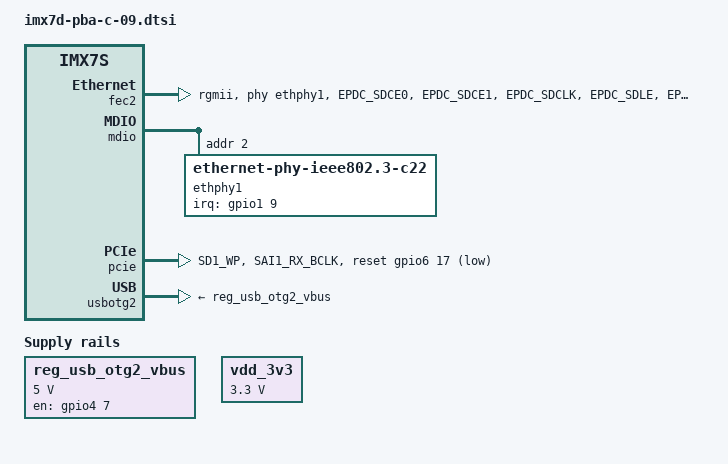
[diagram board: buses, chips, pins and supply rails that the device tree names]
// SPDX-License-Identifier: GPL-2.0-or-later
/*
 * Copyright (C) 2015-2021 PHYTEC America, LLC
 *
 * This file includes the dtsi for interfaces supported by i.MX7 Solo on
 * carrier board PBA-C-09, and configures additional interfaces only
 * supported by the i.MX7 Dual.
 */

#include "imx7s-pba-c-09.dtsi"

/ {
	reg_usb_otg2_vbus: regulator-usb-otg2-vbus {
		compatible = "regulator-fixed";
		pinctrl-names = "default";
		pinctrl-0 = <&pinctrl_usb2_vbus>;
		regulator-name = "usb_otg2_vbus";
		regulator-min-microvolt = <5000000>;
		regulator-max-microvolt = <5000000>;
		gpio = <&gpio4 7 GPIO_ACTIVE_HIGH>;
		enable-active-high;
	};

	vdd_3v3: fixedregulator-vdd {
		compatible = "regulator-fixed";
		regulator-name = "vdd_3v3";
		regulator-min-microvolt = <3300000>;
		regulator-max-microvolt = <3300000>;
		regulator-boot-on;
	};
};

&fec2 {
	pinctrl-names = "default";
	pinctrl-0 = <&pinctrl_enet2>;
	assigned-clocks = <&clks IMX7D_ENET2_TIME_ROOT_SRC>,
			<&clks IMX7D_ENET2_TIME_ROOT_CLK>;
	assigned-clock-parents = <&clks IMX7D_PLL_ENET_MAIN_100M_CLK>;
	assigned-clock-rates = <0>, <100000000>;
	phy-mode = "rgmii";
	phy-handle = <&ethphy1>;
	fsl,magic-packet;
	phy-reset-gpios = <&gpio2 30 GPIO_ACTIVE_LOW>;
	status = "okay";
};

/* same MDIO bus as PHY on phyCORE SOM */
&mdio {
	ethphy1: ethernet-phy@2 {
		compatible = "ethernet-phy-ieee802.3-c22";
		interrupt-parent = <&gpio1>;
		interrupts = <9 0>;
		reg = <2>;
		rxdv-skew-ps = <0>;
		txen-skew-ps = <0>;
		rxd0-skew-ps = <0>;
		rxd1-skew-ps = <0>;
		rxd2-skew-ps = <0>;
		rxd3-skew-ps = <0>;
		rxc-skew-ps = <1860>;
		txc-skew-ps = <1860>;
	};
};

&pcie {
	pinctrl-names = "default";
	pinctrl-0 = <&pinctrl_pcie>;
	reset-gpio = <&gpio6 17  GPIO_ACTIVE_LOW>;
	disable-gpio = <&gpio5 1 GPIO_ACTIVE_LOW>;
	status = "okay";
};

&usbotg2 {
	vbus-supply = <&reg_usb_otg2_vbus>;
	status = "okay";
};

&iomuxc {
	pinctrl_enet2: enet2grp {
		fsl,pins = <
			MX7D_PAD_EPDC_SDCE0__ENET2_RGMII_RX_CTL	0x5
			MX7D_PAD_EPDC_SDCE1__ENET2_RGMII_RXC	0x5
			MX7D_PAD_EPDC_SDCLK__ENET2_RGMII_RD0	0x5
			MX7D_PAD_EPDC_SDLE__ENET2_RGMII_RD1	0x5
			MX7D_PAD_EPDC_SDOE__ENET2_RGMII_RD2	0x5
			MX7D_PAD_EPDC_SDSHR__ENET2_RGMII_RD3	0x5
			MX7D_PAD_EPDC_SDCE2__ENET2_RGMII_TD0	0x5
			MX7D_PAD_EPDC_SDCE3__ENET2_RGMII_TD1	0x5
			MX7D_PAD_EPDC_GDCLK__ENET2_RGMII_TD2	0x5
			MX7D_PAD_EPDC_GDOE__ENET2_RGMII_TD3	0x5
			MX7D_PAD_EPDC_GDRL__ENET2_RGMII_TX_CTL	0x5
			MX7D_PAD_EPDC_GDSP__ENET2_RGMII_TXC	0x5
			/* ETH2 INT_N */
			MX7D_PAD_GPIO1_IO09__GPIO1_IO9		0x59
			/* ETH2 RESET_N */
			MX7D_PAD_EPDC_PWR_COM__GPIO2_IO30	0x59
		>;
	};

	pinctrl_pcie: pciegrp {
		fsl,pins = <
			/* PCIE_DISABLE */
			MX7D_PAD_SD1_WP__GPIO5_IO1		0x59
			/* PCIE_RESET */
			MX7D_PAD_SAI1_RX_BCLK__GPIO6_IO17	0x59
		>;
	};

	pinctrl_usb2_vbus: usb2grp {
		fsl,pins = <
			/* X_USB_OTG2_PWR */
			MX7D_PAD_UART3_CTS_B__GPIO4_IO7		0x14
		>;
	};
};
